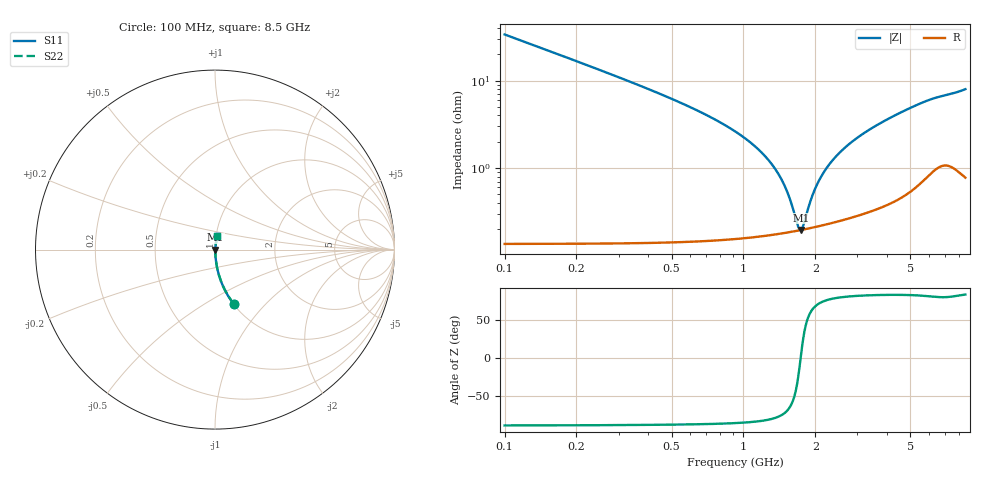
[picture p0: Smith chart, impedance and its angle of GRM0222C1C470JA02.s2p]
!Murata Part Number: GRM0222C1C470JA02
!These Parameters are Measured in Series Mode Connection
!Data Generated on Mar 30, 2021
!  o--ll--o
!Port1  Port2
!  o------o
!Operation Temp=25[degC], DC Bias Voltage=0[V]
!Freq. Start=100[MHz] Stop=9[GHz] 401[Steps]
# Hz S RI R 50
!Freq.(Hz) S11(Real) S11(Imag) S21(Real) S21(Imag) S12(Real) S12(Imag) S22(Real) S22(Imag)
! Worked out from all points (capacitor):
!   401 points, 100 MHz to 8.5 GHz, reference 50 ohm
!   read as one part in series: C = 47 pF near 142 MHz
!   lowest |Z| = 196 mohm at 1.738 GHz (marker M1)
!   series resonance near 1.736 GHz, so ESL is about 180 pH
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1e8  0.1032 -0.3022  0.8968 0.3022  0.8968 0.3022  0.1032 -0.3022
1.84e8  0.0333 -0.1757  0.9667 0.1757  0.9667 0.1757  0.0333 -0.1757
2.47e8  0.019 -0.1316  0.981 0.1316  0.981 0.1316  0.019 -0.1316
3.94e8  0.00796 -0.0807  0.992 0.0807  0.992 0.0807  0.00796 -0.0807
6.04e8  0.00384 -0.049  0.9962 0.049  0.9962 0.049  0.00384 -0.049
1.213e9  0.00187 -0.0142  0.9981 0.0142  0.9981 0.0142  0.00187 -0.0142
1.381e9  0.00183 -0.00893  0.9982 0.00893  0.9982 0.00893  0.00183 -0.00893
1.507e9  0.00185 -0.00549  0.9982 0.00549  0.9982 0.00549  0.00185 -0.00549
1.675e9  0.00192 -0.00138  0.9981 0.00138  0.9981 0.00138  0.00192 -0.00138
1.717e9  0.00194 -0.000429  0.9981 0.000429  0.9981 0.000429  0.00194 -0.000429
1.738e9  0.00195 3.97e-05  0.998 -3.97e-05  0.998 -3.97e-05  0.00195 3.97e-05
1.78e9  0.00198 0.00096  0.998 -0.00096  0.998 -0.00096  0.00198 0.00096
1.906e9  0.00207 0.0036  0.9979 -0.0036  0.9979 -0.0036  0.00207 0.0036
1.99e9  0.00214 0.00527  0.9979 -0.00527  0.9979 -0.00527  0.00214 0.00527
2.179e9  0.00231 0.0088  0.9977 -0.0088  0.9977 -0.0088  0.00231 0.0088
2.494e9  0.00265 0.0142  0.9973 -0.0142  0.9973 -0.0142  0.00265 0.0142
2.914e9  0.00319 0.0207  0.9968 -0.0207  0.9968 -0.0207  0.00319 0.0207
3.523e9  0.00414 0.0293  0.9959 -0.0293  0.9959 -0.0293  0.00414 0.0293
4.3e9  0.00569 0.0394  0.9943 -0.0394  0.9943 -0.0394  0.00569 0.0394
5.707e9  0.0104 0.0557  0.9896 -0.0557  0.9896 -0.0557  0.0104 0.0557
7.114e9  0.015 0.0661  0.985 -0.0661  0.985 -0.0661  0.015 0.0661
8.5e9  0.0139 0.0779  0.9861 -0.0779  0.9861 -0.0779  0.0139 0.0779
